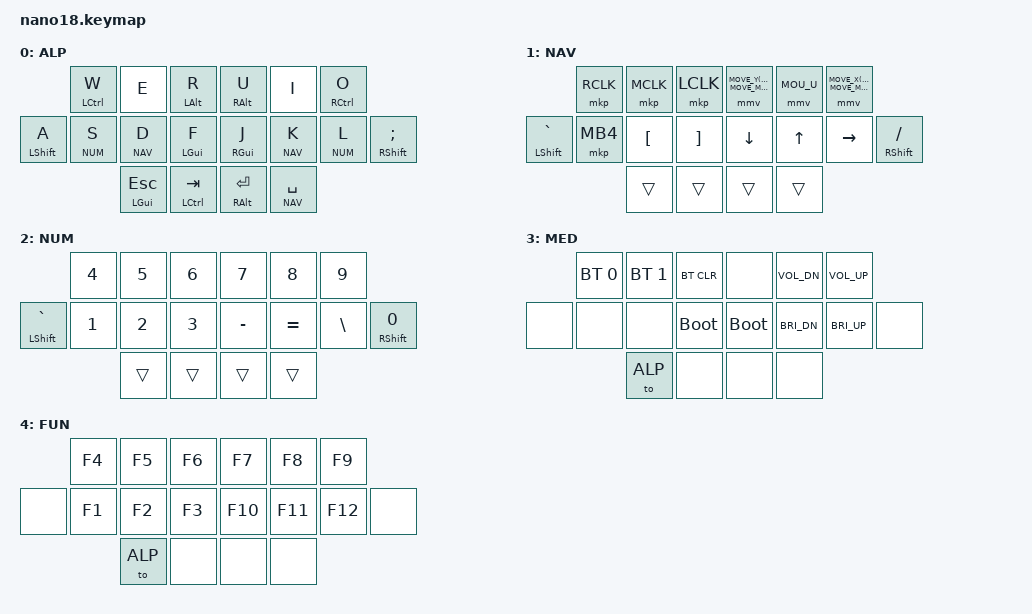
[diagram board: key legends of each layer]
/*
 * Copyright (c) 2020 The ZMK Contributors
 *
 * SPDX-License-Identifier: MIT
 */

#include <zephyr/dt-bindings/input/input-event-codes.h>

#include <behaviors.dtsi>
#include <behaviors/mouse_keys.dtsi>
#include <behaviors/mouse_key_press.dtsi>
#include <dt-bindings/zmk/keys.h>
#include <dt-bindings/zmk/bt.h>
#include <dt-bindings/zmk/mouse.h>
#include <dt-bindings/zmk/input_transform.h>

#ifndef MOVE_Y
#define MOVE_Y(n) (0)
#endif
#ifndef MOVE_X
#define MOVE_X(n) (0)
#endif

#define U_MOUSE_MOVE_MAX 1700
#define MOU_U MOVE_Y(-U_MOUSE_MOVE_MAX)
#define MOU_D MOVE_Y(U_MOUSE_MOVE_MAX)
#define MOU_L MOVE_X(-U_MOUSE_MOVE_MAX)
#define MOU_R MOVE_X(U_MOUSE_MOVE_MAX)

/* Layers */
#define ALP 0
#define NAV 1
#define NUM 2
#define MED 3
#define FUN 4

/ { 
  // behaviors {
  //   mmv: mmv_dummy {
  //     compatible = "zmk,behavior-momentary-layer";
  //     #binding-cells = <1>;
  //   };
  //   msc: msc_dummy {
  //     compatible = "zmk,behavior-momentary-layer";
  //     #binding-cells = <1>;
  //   };
  // };

  //			00  01  02    03  04  05
  //	06  07  08  09    10  11  12  13
  //					14  15    16  17
  combos {
    compatible = "zmk,combos";

    q   { timeout-ms = <70>; key-positions = <0 1>; bindings = <&kp Q>; layers = <ALP>; };
    t   { timeout-ms = <70>; key-positions = <1 2>; bindings = <&kp T>; layers = <ALP>; };
    g   { timeout-ms = <60>; key-positions = <8 9>; bindings = <&kp G>; layers = <ALP>; };
    b_d { timeout-ms = <70>; key-positions = <1 9>; bindings = <&kp B>; layers = <ALP>; };
    t_v { timeout-ms = <70>; key-positions = <2 9>; bindings = <&kp T>; layers = <ALP>; };

    z   { timeout-ms = <30>; key-positions = <6 14>; bindings = <&kp Z>; layers = <ALP>; };
    x   { timeout-ms = <30>; key-positions = <7 14>; bindings = <&kp X>; layers = <ALP>; };
    c   { timeout-ms = <30>; key-positions = <8 14>; bindings = <&kp C>; layers = <ALP>; };
    v   { timeout-ms = <30>; key-positions = <9 14>; bindings = <&kp V>; layers = <ALP>; };
    b   { timeout-ms = <30>; key-positions = <9 15>; bindings = <&kp B>; layers = <ALP>; };

    p   { timeout-ms = <70>; key-positions = <4 5>; bindings = <&kp P>; layers = <ALP>; };
    y   { timeout-ms = <70>; key-positions = <3 4>; bindings = <&kp Y>; layers = <ALP>; };
    h   { timeout-ms = <60>; key-positions = <10 11>; bindings = <&kp H>; layers = <ALP>; };
    n_d { timeout-ms = <70>; key-positions = <10 4>; bindings = <&kp N>; layers = <ALP>; };
    y_v { timeout-ms = <70>; key-positions = <10 3>; bindings = <&kp Y>; layers = <ALP>; };

    n     { timeout-ms = <30>; key-positions = <10 16>; bindings = <&kp N>; layers = <ALP>; };
    m     { timeout-ms = <30>; key-positions = <10 17>; bindings = <&kp M>; layers = <ALP>; };
    comma { timeout-ms = <30>; key-positions = <11 17>; bindings = <&kp COMMA>; layers = <ALP>; };
    dot   { timeout-ms = <30>; key-positions = <12 17>; bindings = <&kp DOT>; layers = <ALP>; };
    flash { timeout-ms = <30>; key-positions = <13 17>; bindings = <&kp FSLH>; layers = <ALP>; };

    bksp { timeout-ms = <50>; key-positions = <11 12>; bindings = <&kp BKSP>; layers = <ALP>; };
    tab { timeout-ms = <50>; key-positions = <7 8>; bindings = <&kp TAB>; layers = <ALP>; };

    nav_left { timeout-ms = <80>; key-positions = <10 11>; bindings = <&kp LEFT>; layers = <NAV>; };
    mmv_left { timeout-ms = <80>; key-positions = <3 4>; bindings = <&mmv MOU_L>; layers = <NAV>; };

    combo_fun { timeout-ms = <60>; key-positions = <3 5>; bindings = <&to FUN>; layers = <NUM>; };
    combo_med { timeout-ms = <60>; key-positions = <10 12>; bindings = <&to MED>; layers = <NUM>; };
  };

  behaviors {
    hm_l: homerow_mods_left {
      compatible = "zmk,behavior-hold-tap"; #binding-cells = <2>;
      tapping-term-ms = <200>; quick-tap-ms = <200>;
      flavor = "tap-preferred"; bindings = <&kp>, <&kp>;
      // hold-trigger-key-positions = <3 4 5 10 11 12 13>; // right hand
    };
    hm_r: homerow_mods_right {
      compatible = "zmk,behavior-hold-tap"; #binding-cells = <2>;
      tapping-term-ms = <200>; quick-tap-ms = <200>;
      flavor = "tap-preferred"; bindings = <&kp>, <&kp>;
      // hold-trigger-key-positions = <0 1 2 6 7 8 9>; // left hand
    };
    hl_l: homerow_layers_left {
      compatible = "zmk,behavior-hold-tap"; #binding-cells = <2>;
      tapping-term-ms = <200>; quick-tap-ms = <200>;
      flavor = "tap-preferred"; bindings = <&mo>, <&kp>;
      // hold-trigger-key-positions = <3 4 5 10 11 12 13>; // right hand
    };
    hl_r: homerow_layers_right {
      compatible = "zmk,behavior-hold-tap"; #binding-cells = <2>;
      tapping-term-ms = <200>; quick-tap-ms = <200>;
      flavor = "tap-preferred"; bindings = <&mo>, <&kp>;
      // hold-trigger-key-positions = <0 1 2 6 7 8 9>; // left hand
    };
  };

  keymap {
    compatible = "zmk,keymap";

    ALP {
      bindings = <
                     &hm_l LCTL W    &kp E            &hm_l LALT R           &hm_r RALT U       &kp I           &hm_r RCTL O
&hm_l LSHIFT A       &hl_l NUM S     &hl_l NAV D      &hm_l LGUI F           &hm_r RGUI J       &hl_r NAV K     &hl_r NUM L     &hm_r RSHIFT SEMI
                                     &mt LGUI ESC     &mt LCTRL TAB          &mt RALT ENTER     &lt NAV SPACE
      >;
    };

    NAV {
      bindings = <
                     &mkp RCLK       &mkp MCLK        &mkp LCLK               &mmv MOU_D        &mmv MOU_U      &mmv MOU_R
&hm_l LSHIFT GRAVE   &mkp MB4        &kp LBKT         &kp RBKT                &kp DOWN          &kp UP          &kp RIGHT       &hm_r RSHIFT FSLH
                                     &trans           &trans                  &trans            &trans
      >;
    };

    NUM {
      bindings = <
                     &kp N4          &kp N5           &kp N6                  &kp N7            &kp N8           &kp N9
&hm_l LSHIFT GRAVE   &kp N1          &kp N2           &kp N3                  &kp MINUS         &kp EQUAL        &kp BSLH       &hm_r RSHIFT N0
                                     &trans           &trans                  &trans            &trans
      >;
    };

    MED {
      bindings = <
                   &bt BT_SEL 0	     &bt BT_SEL 1	     &bt BT_CLR             &none             &kp C_VOL_DN     &kp C_VOL_UP
&none	             &none             &none             &bootloader            &bootloader       &kp C_BRI_DN     &kp C_BRI_UP   &none
                                     &to ALP           &none				          &none             &none
      >;
    };

    FUN {
      bindings = <
                   &kp F4            &kp F5            &kp F6                 &kp F7            &kp F8           &kp F9
&none              &kp F1            &kp F2            &kp F3                 &kp F10           &kp F11          &kp F12        &none
                                     &to ALP           &none				          &none             &none
      >;
    };

  };
};
